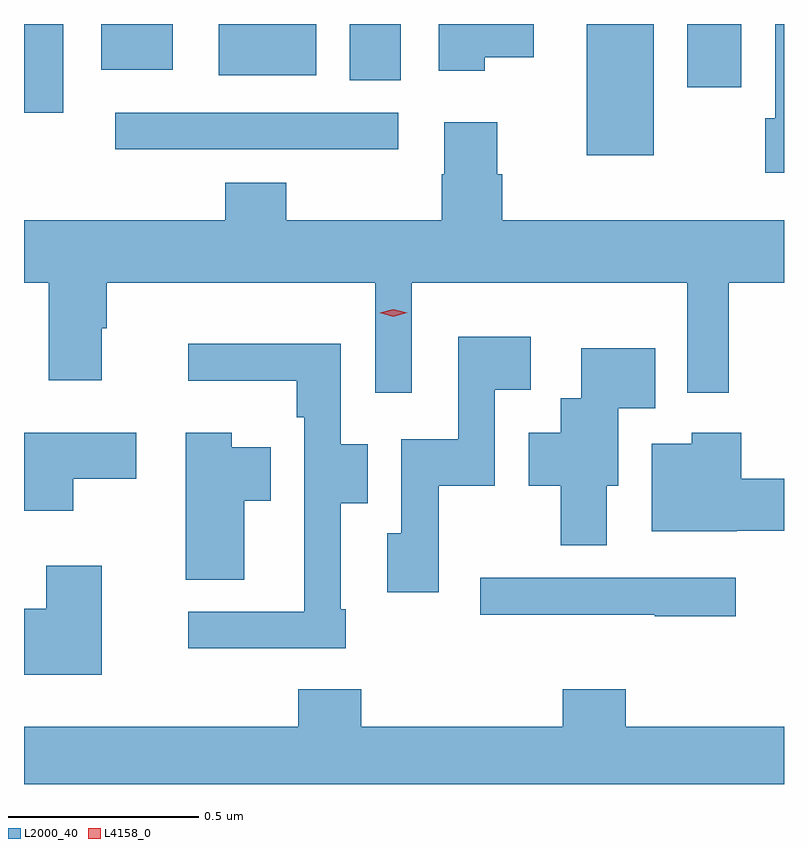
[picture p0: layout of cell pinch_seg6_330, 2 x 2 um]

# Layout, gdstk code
import gdstk
lib = gdstk.Library(unit=1e-6, precision=1e-09)
def R(c, l, rs):  # rectangles x0, y0, x1, y1
    for r in rs: c.add(gdstk.rectangle(r[:2], r[2:], *l))
def P(c, l, *ps):  # polygons
    for p in ps: c.add(gdstk.Polygon(p, *l))
L2000_40 = (2000, 40)
L4158_0 = (4158, 0)

pinch_seg6_330 = lib.new_cell('pinch_seg6_330')
R(pinch_seg6_330, L2000_40, [(667.694,984.968,667.87,985.313), (666.453,984.984,667.198,985.08), (666.213,985.079,666.316,985.313), (667.958,985.146,668.101,985.313), (667.07,985.165,667.204,985.313), (666.725,985.178,666.982,985.313), (666.416,985.193,666.604,985.313)])
P(pinch_seg6_330, L2000_40, [(668.213,985.313),(668.19,985.313),(668.19,985.065),(668.164,985.065),(668.164,984.921),(668.213,984.921)],
  [(667.426,985.226),(667.555,985.226),(667.555,985.313),(667.304,985.313),(667.304,985.19),(667.426,985.19)],
  [(667.233,984.632),(667.959,984.632),(667.959,984.342),(668.068,984.342),(668.068,984.632),(668.213,984.632),(668.213,984.796),(667.472,984.796),(667.472,984.917),(667.459,984.917),(667.459,985.054),(667.319,985.054),(667.319,984.917),(667.312,984.917),(667.312,984.796),(666.903,984.796),(666.903,984.895),(666.743,984.895),(666.743,984.796),(666.213,984.796),(666.213,984.632),(666.278,984.632),(666.278,984.375),(666.418,984.375),(666.418,984.512),(666.431,984.512),(666.431,984.632),(667.137,984.632),(667.137,984.342),(667.233,984.342)],
  [(667.305,984.098),(667.452,984.098),(667.452,984.35),(667.546,984.35),(667.546,984.49),(667.356,984.49),(667.356,984.22),(667.206,984.22),(667.206,983.973),(667.169,983.973),(667.169,983.817),(667.305,983.817)],
  [(667.06,983.773),(667.047,983.773),(667.047,984.052),(667.117,984.052),(667.117,984.207),(667.047,984.207),(667.047,984.472),(666.645,984.472),(666.645,984.374),(666.931,984.374),(666.931,984.278),(666.951,984.278),(666.951,983.963),(666.95,983.963),(666.95,983.766),(666.645,983.766),(666.645,983.67),(667.06,983.67)],
  [(667.747,984.098),(667.777,984.098),(667.777,984.302),(667.874,984.302),(667.874,984.46),(667.68,984.46),(667.68,984.328),(667.625,984.328),(667.625,984.238),(667.541,984.238),(667.541,984.098),(667.625,984.098),(667.625,983.941),(667.747,983.941)],
  [(666.793,984.059),(666.862,984.059),(666.862,984.199),(666.76,984.199),(666.76,984.238),(666.638,984.238),(666.638,983.851),(666.793,983.851)],
  [(666.343,984.116),(666.508,984.116),(666.508,984.238),(666.213,984.238),(666.213,984.032),(666.343,984.032)],
  [(668.088,983.98),(668.213,983.98),(668.213,984.116),(668.1,984.116),(668.1,984.238),(667.97,984.238),(667.97,984.208),(667.865,984.208),(667.865,983.978),(668.088,983.978)],
  [(666.418,983.887),(666.271,983.887),(666.271,983.774),(666.213,983.774),(666.213,983.6),(666.418,983.6)],
  [(668.086,983.856),(667.413,983.856),(667.413,983.759),(667.873,983.759),(667.873,983.755),(668.086,983.755)],
  [(666.213,983.313),(668.213,983.313),(668.213,983.464),(667.796,983.464),(667.796,983.563),(667.631,983.563),(667.631,983.464),(667.1,983.464),(667.1,983.563),(666.935,983.563),(666.935,983.464),(666.213,983.464)])
P(pinch_seg6_330, L4158_0, [(667.185,984.543),(667.149,984.553),(667.149,984.553),(667.149,984.553),(667.185,984.563),(667.221,984.553),(667.221,984.553),(667.221,984.553)])

lib.write_gds('pinch_seg6_330.gds')
